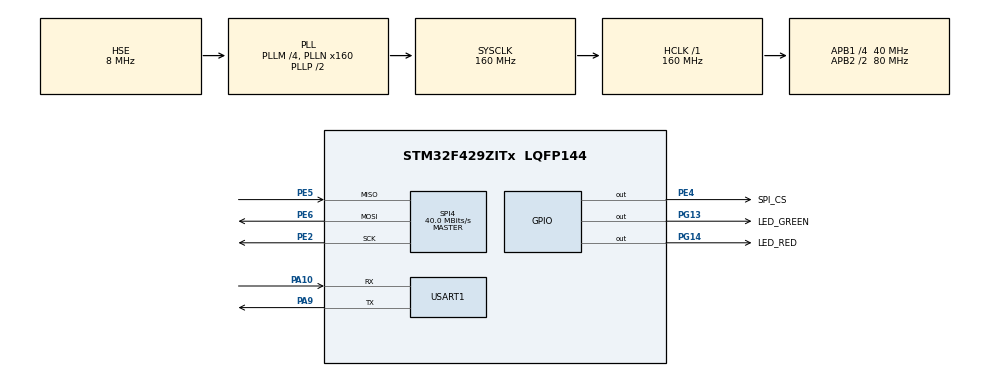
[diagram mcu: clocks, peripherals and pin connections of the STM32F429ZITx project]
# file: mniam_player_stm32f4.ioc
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FREERTOS.Tasks01=defaultTask,24,128,defaultTaskFunc,Default,NULL,Dynamic,NULL,NULL
FREERTOS.configTOTAL_HEAP_SIZE=65536
FREERTOS.configUSE_NEWLIB_REENTRANT=1
Mcu.Family=STM32F4
Mcu.Name=STM32F429ZITx
Mcu.Package=LQFP144
NVIC.PriorityGroup=NVIC_PRIORITYGROUP_4
NVIC.TIM1_UP_TIM10_IRQn=true\:15\:0\:false\:false\:true\:false\:false\:true\:true
NVIC.TimeBase=TIM1_UP_TIM10_IRQn
NVIC.TimeBaseIP=TIM1
NVIC.USART1_IRQn=true\:5\:0\:false\:false\:true\:true\:true\:true\:true
PA10.Mode=Asynchronous
PA10.Signal=USART1_RX
PA13.Mode=Serial_Wire
PA13.Signal=SYS_JTMS-SWDIO
PA14.Mode=Serial_Wire
PA14.Signal=SYS_JTCK-SWCLK
PA9.Mode=Asynchronous
PA9.Signal=USART1_TX
PE2.GPIO_PuPd=GPIO_PULLDOWN
PE2.Mode=Full_Duplex_Master
PE2.Signal=SPI4_SCK
PE4.GPIO_Label=SPI_CS
PE4.GPIO_ModeDefaultOutputPP=GPIO_MODE_OUTPUT_OD
PE4.GPIO_PuPd=GPIO_PULLUP
PE4.GPIO_Speed=GPIO_SPEED_FREQ_HIGH
PE4.PinState=GPIO_PIN_SET
PE4.Signal=GPIO_Output
PE5.Mode=Full_Duplex_Master
PE5.Signal=SPI4_MISO
PE6.Mode=Full_Duplex_Master
PE6.Signal=SPI4_MOSI
PG13.GPIO_Label=LED_GREEN
PG13.Signal=GPIO_Output
PG14.GPIO_Label=LED_RED
PG14.Signal=GPIO_Output
PH0/OSC_IN.Mode=HSE-External-Oscillator
PH0/OSC_IN.Signal=RCC_OSC_IN
PH1/OSC_OUT.Mode=HSE-External-Oscillator
PH1/OSC_OUT.Signal=RCC_OSC_OUT
ProjectManager.HeapSize=0x200
ProjectManager.StackSize=0x400
ProjectManager.TargetToolchain=STM32CubeIDE
RCC.48MHZClocksFreq_Value=80000000
RCC.AHBFreq_Value=160000000
RCC.APB1CLKDivider=RCC_HCLK_DIV4
RCC.APB1Freq_Value=40000000
RCC.APB1TimFreq_Value=80000000
RCC.APB2CLKDivider=RCC_HCLK_DIV2
RCC.APB2Freq_Value=80000000
RCC.APB2TimFreq_Value=160000000
RCC.CortexFreq_Value=160000000
RCC.HCLKFreq_Value=160000000
RCC.HSE_VALUE=8000000
RCC.HSI_VALUE=16000000
RCC.LSE_VALUE=32768
RCC.PLLM=4
RCC.PLLN=160
RCC.PLLSourceVirtual=RCC_PLLSOURCE_HSE
RCC.SYSCLKFreq_VALUE=160000000
RCC.SYSCLKSource=RCC_SYSCLKSOURCE_PLLCLK
RCC.VCOOutputFreq_Value=320000000
SPI4.BaudRatePrescaler=SPI_BAUDRATEPRESCALER_2
SPI4.CLKPolarity=SPI_POLARITY_LOW
SPI4.CalculateBaudRate=40.0 MBits/s
SPI4.Direction=SPI_DIRECTION_2LINES
SPI4.Mode=SPI_MODE_MASTER
SPI4.VirtualType=VM_MASTER
TIM14.Prescaler=159
USART1.VirtualMode=VM_ASYNC
VP_FREERTOS_VS_CMSIS_V2.Mode=CMSIS_V2
VP_SYS_VS_tim1.Mode=TIM1
VP_TIM14_VS_ClockSourceINT.Mode=Enable_Timer
board=custom

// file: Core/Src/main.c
/* USER CODE BEGIN Header */
/**
  ******************************************************************************
  * @file           : main.c
  * @brief          : Main program body
  ******************************************************************************
  * @attention
  *
  * Copyright (c) 2025 STMicroelectronics.
  * All rights reserved.
  *
  * This software is licensed under terms that can be found in the LICENSE file
  * in the root directory of this software component.
  * If no LICENSE file comes with this software, it is provided AS-IS.
  *
  ******************************************************************************
  */
/* USER CODE END Header */
#include "main.h"
#include "cmsis_os.h"

/* USER CODE BEGIN Includes */
#include <core_cm4.h>
#include <stdio.h>
#include "net_mac.h"
#include "net_app.h"
/* USER CODE END Includes */

SPI_HandleTypeDef hspi4;

TIM_HandleTypeDef htim14;

/* Definitions for defaultTask */
osThreadId_t defaultTaskHandle;
const osThreadAttr_t defaultTask_attributes = {
  .name = "defaultTask",
  .stack_size = 128 * 4,
  .priority = (osPriority_t) osPriorityNormal,
};
/* USER CODE BEGIN PV */
const osThreadAttr_t netMacThreadAttributes = {
  .name = "netMACThread",
  .stack_size = 512 * 4,
  .priority = (osPriority_t) osPriorityNormal,
};
const osThreadAttr_t netAppThreadAttributes = {
  .name = "netAPPThread",
  .stack_size = 512 * 4,
  .priority = (osPriority_t) osPriorityNormal,
};

/* USER CODE END PV */

void SystemClock_Config(void);
static void MX_GPIO_Init(void);
static void MX_USART1_UART_Init(void);
static void MX_SPI4_Init(void);
static void MX_TIM14_Init(void);
void defaultTaskFunc(void *argument);

int main(void)
{

  /* MCU Configuration--------------------------------------------------------*/

  /* Reset of all peripherals, Initializes the Flash interface and the Systick. */
  HAL_Init();

  /* Configure the system clock */
  SystemClock_Config();

  /* Initialize all configured peripherals */
  MX_GPIO_Init();
  MX_USART1_UART_Init();
  MX_SPI4_Init();
  MX_TIM14_Init();

  /* Init scheduler */
  osKernelInitialize();

  /* Create the thread(s) */
  /* creation of defaultTask */
  defaultTaskHandle = osThreadNew(defaultTaskFunc, NULL, &defaultTask_attributes);

  /* USER CODE BEGIN RTOS_THREADS */
  osThreadNew(NET_MACThread, NULL, &netMacThreadAttributes);
  osThreadNew(NET_APPThread, NULL, &netAppThreadAttributes);
  /* USER CODE END RTOS_THREADS */

  /* Start scheduler */
  osKernelStart();

  /* We should never get here as control is now taken by the scheduler */

  /* Infinite loop */
  while (1)
  {

  }
}

void SystemClock_Config(void)
{
  RCC_OscInitTypeDef RCC_OscInitStruct = {0};
  RCC_ClkInitTypeDef RCC_ClkInitStruct = {0};

  /** Configure the main internal regulator output voltage
  */
  __HAL_RCC_PWR_CLK_ENABLE();
  __HAL_PWR_VOLTAGESCALING_CONFIG(PWR_REGULATOR_VOLTAGE_SCALE1);

  /** Initializes the RCC Oscillators according to the specified parameters
  * in the RCC_OscInitTypeDef structure.
  */
  RCC_OscInitStruct.OscillatorType = RCC_OSCILLATORTYPE_HSE;
  RCC_OscInitStruct.HSEState = RCC_HSE_ON;
  RCC_OscInitStruct.PLL.PLLState = RCC_PLL_ON;
  RCC_OscInitStruct.PLL.PLLSource = RCC_PLLSOURCE_HSE;
  RCC_OscInitStruct.PLL.PLLM = 4;
  RCC_OscInitStruct.PLL.PLLN = 160;
  RCC_OscInitStruct.PLL.PLLP = RCC_PLLP_DIV2;
  RCC_OscInitStruct.PLL.PLLQ = 4;
  if (HAL_RCC_OscConfig(&RCC_OscInitStruct) != HAL_OK)
  {
    Error_Handler();
  }

  /** Initializes the CPU, AHB and APB buses clocks
  */
  RCC_ClkInitStruct.ClockType = RCC_CLOCKTYPE_HCLK|RCC_CLOCKTYPE_SYSCLK
                              |RCC_CLOCKTYPE_PCLK1|RCC_CLOCKTYPE_PCLK2;
  RCC_ClkInitStruct.SYSCLKSource = RCC_SYSCLKSOURCE_PLLCLK;
  RCC_ClkInitStruct.AHBCLKDivider = RCC_SYSCLK_DIV1;
  RCC_ClkInitStruct.APB1CLKDivider = RCC_HCLK_DIV4;
  RCC_ClkInitStruct.APB2CLKDivider = RCC_HCLK_DIV2;

  if (HAL_RCC_ClockConfig(&RCC_ClkInitStruct, FLASH_LATENCY_5) != HAL_OK)
  {
    Error_Handler();
  }
}

static void MX_SPI4_Init(void)
{

  /* SPI4 parameter configuration*/
  hspi4.Instance = SPI4;
  hspi4.Init.Mode = SPI_MODE_MASTER;
  hspi4.Init.Direction = SPI_DIRECTION_2LINES;
  hspi4.Init.DataSize = SPI_DATASIZE_8BIT;
  hspi4.Init.CLKPolarity = SPI_POLARITY_LOW;
  hspi4.Init.CLKPhase = SPI_PHASE_1EDGE;
  hspi4.Init.NSS = SPI_NSS_SOFT;
  hspi4.Init.BaudRatePrescaler = SPI_BAUDRATEPRESCALER_2;
  hspi4.Init.FirstBit = SPI_FIRSTBIT_MSB;
  hspi4.Init.TIMode = SPI_TIMODE_DISABLE;
  hspi4.Init.CRCCalculation = SPI_CRCCALCULATION_DISABLE;
  hspi4.Init.CRCPolynomial = 10;
  if (HAL_SPI_Init(&hspi4) != HAL_OK)
  {
    Error_Handler();
  }

}

static void MX_TIM14_Init(void)
{

  htim14.Instance = TIM14;
  htim14.Init.Prescaler = 159;
  htim14.Init.CounterMode = TIM_COUNTERMODE_UP;
  htim14.Init.Period = 65535;
  htim14.Init.ClockDivision = TIM_CLOCKDIVISION_DIV1;
  htim14.Init.AutoReloadPreload = TIM_AUTORELOAD_PRELOAD_DISABLE;
  if (HAL_TIM_Base_Init(&htim14) != HAL_OK)
  {
    Error_Handler();
  }
  /* USER CODE BEGIN TIM14_Init 2 */
  HAL_TIM_Base_Start(&htim14);
  /* USER CODE END TIM14_Init 2 */

}

static void MX_USART1_UART_Init(void)
{

  LL_USART_InitTypeDef USART_InitStruct = {0};

  LL_GPIO_InitTypeDef GPIO_InitStruct = {0};

  /* Peripheral clock enable */
  LL_APB2_GRP1_EnableClock(LL_APB2_GRP1_PERIPH_USART1);

  LL_AHB1_GRP1_EnableClock(LL_AHB1_GRP1_PERIPH_GPIOA);
  /**USART1 GPIO Configuration
  PA9   ------> USART1_TX
  PA10   ------> USART1_RX
  */
  GPIO_InitStruct.Pin = LL_GPIO_PIN_9|LL_GPIO_PIN_10;
  GPIO_InitStruct.Mode = LL_GPIO_MODE_ALTERNATE;
  GPIO_InitStruct.Speed = LL_GPIO_SPEED_FREQ_VERY_HIGH;
  GPIO_InitStruct.OutputType = LL_GPIO_OUTPUT_PUSHPULL;
  GPIO_InitStruct.Pull = LL_GPIO_PULL_NO;
  GPIO_InitStruct.Alternate = LL_GPIO_AF_7;
  LL_GPIO_Init(GPIOA, &GPIO_InitStruct);

  /* USART1 interrupt Init */
  NVIC_SetPriority(USART1_IRQn, NVIC_EncodePriority(NVIC_GetPriorityGrouping(),5, 0));
  NVIC_EnableIRQ(USART1_IRQn);

  USART_InitStruct.BaudRate = 115200;
  USART_InitStruct.DataWidth = LL_USART_DATAWIDTH_8B;
  USART_InitStruct.StopBits = LL_USART_STOPBITS_1;
  USART_InitStruct.Parity = LL_USART_PARITY_NONE;
  USART_InitStruct.TransferDirection = LL_USART_DIRECTION_TX_RX;
  USART_InitStruct.HardwareFlowControl = LL_USART_HWCONTROL_NONE;
  USART_InitStruct.OverSampling = LL_USART_OVERSAMPLING_16;
  LL_USART_Init(USART1, &USART_InitStruct);
  LL_USART_ConfigAsyncMode(USART1);
  LL_USART_Enable(USART1);

}

static void MX_GPIO_Init(void)
{
  GPIO_InitTypeDef GPIO_InitStruct = {0};

  /* GPIO Ports Clock Enable */
  __HAL_RCC_GPIOE_CLK_ENABLE();
  __HAL_RCC_GPIOH_CLK_ENABLE();
  __HAL_RCC_GPIOA_CLK_ENABLE();
  __HAL_RCC_GPIOG_CLK_ENABLE();

  /*Configure GPIO pin Output Level */
  HAL_GPIO_WritePin(SPI_CS_GPIO_Port, SPI_CS_Pin, GPIO_PIN_SET);

  /*Configure GPIO pin Output Level */
  HAL_GPIO_WritePin(GPIOG, LED_GREEN_Pin|LED_RED_Pin, GPIO_PIN_RESET);

  /*Configure GPIO pin : SPI_CS_Pin */
  GPIO_InitStruct.Pin = SPI_CS_Pin;
  GPIO_InitStruct.Mode = GPIO_MODE_OUTPUT_OD;
  GPIO_InitStruct.Pull = GPIO_PULLUP;
  GPIO_InitStruct.Speed = GPIO_SPEED_FREQ_HIGH;
  HAL_GPIO_Init(SPI_CS_GPIO_Port, &GPIO_InitStruct);

  /*Configure GPIO pins : LED_GREEN_Pin LED_RED_Pin */
  GPIO_InitStruct.Pin = LED_GREEN_Pin|LED_RED_Pin;
  GPIO_InitStruct.Mode = GPIO_MODE_OUTPUT_PP;
  GPIO_InitStruct.Pull = GPIO_NOPULL;
  GPIO_InitStruct.Speed = GPIO_SPEED_FREQ_LOW;
  HAL_GPIO_Init(GPIOG, &GPIO_InitStruct);

}

/* USER CODE BEGIN 4 */
int __io_putchar(int ch) {
	return ITM_SendChar(ch);
}
/* USER CODE END 4 */

void defaultTaskFunc(void *argument)
{
  /* USER CODE BEGIN 5 */
  /* Infinite loop */
  for(;;)
  {
	HAL_GPIO_TogglePin(LED_GREEN_GPIO_Port, LED_GREEN_Pin);
    osDelay(100);
  }
  /* USER CODE END 5 */
}

void HAL_TIM_PeriodElapsedCallback(TIM_HandleTypeDef *htim)
{
  if (htim->Instance == TIM1)
  {
    HAL_IncTick();
  }
}

void Error_Handler(void)
{
  __disable_irq();
  while (1)
  {
  }
}
